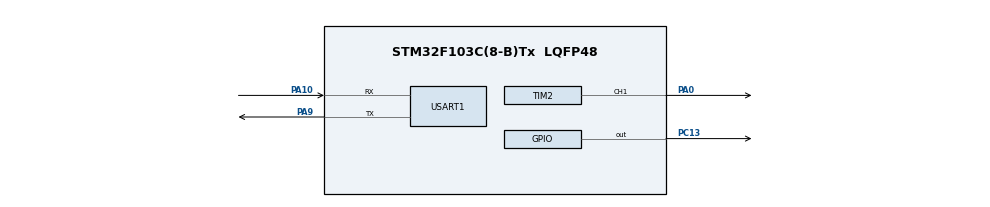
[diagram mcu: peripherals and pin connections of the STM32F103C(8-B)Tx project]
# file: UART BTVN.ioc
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Mcu.Family=STM32F1
Mcu.Name=STM32F103C(8-B)Tx
Mcu.Package=LQFP48
NVIC.PriorityGroup=NVIC_PRIORITYGROUP_4
NVIC.USART1_IRQn=true\:0\:0\:false\:false\:true\:true\:true\:true
PA0-WKUP.Signal=S_TIM2_CH1_ETR
PA10.Mode=Asynchronous
PA10.Signal=USART1_RX
PA13.Mode=Serial_Wire
PA13.Signal=SYS_JTMS-SWDIO
PA14.Mode=Serial_Wire
PA14.Signal=SYS_JTCK-SWCLK
PA9.Mode=Asynchronous
PA9.Signal=USART1_TX
PC13-TAMPER-RTC.GPIO_PuPd=GPIO_PULLUP
PC13-TAMPER-RTC.Signal=GPIO_Output
ProjectManager.HeapSize=0x200
ProjectManager.StackSize=0x400
ProjectManager.TargetToolchain=MDK-ARM V5
RCC.APB1Freq_Value=8000000
RCC.APB2Freq_Value=8000000
SH.S_TIM2_CH1_ETR.0=TIM2_CH1,PWM Generation1 CH1
TIM2.Channel-PWM\ Generation1\ CH1=TIM_CHANNEL_1
TIM2.Period=200
TIM2.Prescaler=800-1
USART1.VirtualMode=VM_ASYNC
VP_TIM2_VS_ClockSourceINT.Mode=Internal
board=custom

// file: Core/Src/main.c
/* USER CODE BEGIN Header */
/**
  ******************************************************************************
  * @file           : main.c
  * @brief          : Main program body
  ******************************************************************************
  * @attention
  *
  * Copyright (c) 2023 STMicroelectronics.
  * All rights reserved.
  *
  * This software is licensed under terms that can be found in the LICENSE file
  * in the root directory of this software component.
  * If no LICENSE file comes with this software, it is provided AS-IS.
  *
  ******************************************************************************
  */
/* USER CODE END Header */
#include "main.h"

/* USER CODE BEGIN Includes */
#include "stdio.h"
#include "string.h"
/* USER CODE END Includes */

#define LED_ON 		"LED=1"
#define LED_OFF 	"LED=0"
#define SERVO_90 	"SERVO=90"

TIM_HandleTypeDef htim2;

UART_HandleTypeDef huart1;

/* USER CODE BEGIN PV */
uint8_t Rx_Data=0;
uint8_t Rx_Array[20];
uint8_t Rx_Index=0;
uint8_t CheckMode=0;
/* USER CODE END PV */

void SystemClock_Config(void);
static void MX_GPIO_Init(void);
static void MX_TIM2_Init(void);
static void MX_USART1_UART_Init(void);
/* USER CODE BEGIN PFP */
void HAL_UART_RxCpltCallback(UART_HandleTypeDef *huart)
{
  Rx_Array[Rx_Index]=Rx_Data;
	Rx_Index++;
	if (Rx_Data==10) {
		for(int i=(Rx_Index-1);i<20;i++) {
			Rx_Array[i]=0;
		}
		Rx_Index=0;
	}
	HAL_UART_Receive_IT(&huart1,&Rx_Data,1);
}

void PWM_Output(uint8_t servo_duty)
{
	__HAL_TIM_SetCompare(&htim2,TIM_CHANNEL_1,servo_duty);
}

void LED_Output(GPIO_PinState PinState)
{
	HAL_GPIO_WritePin(GPIOC,GPIO_PIN_13,PinState);
}

void Repeat_Check(){
	if (strcmp((const char*)Rx_Array,"Repeat=ON") == 0)
	{
		CheckMode=1;
		memset((char*)Rx_Array,0,20);
	}
	else if (strcmp((const char*)Rx_Array,"Repeat=OFF") == 0)
	{
		CheckMode=0;
	}
}

void Repeat_Mode(){
	HAL_UART_Transmit(&huart1,Rx_Array,20,HAL_MAX_DELAY);
	HAL_Delay(1000);
}

void Command_Mode(){
	if (strcmp((const char*)Rx_Array,LED_ON) == 0)
	{
			LED_Output(GPIO_PIN_RESET);
	}
	if (strcmp((const char*)Rx_Array,LED_OFF) == 0)
	{
			LED_Output(GPIO_PIN_SET);
	}
	if (strcmp((const char*)Rx_Array,SERVO_90) == 0)
	{
		//PWM = 20/200(ms) corresponds to angle of servo is 90.
			PWM_Output(20);
	}
}

/* USER CODE END PFP */

int main(void)
{

  /* MCU Configuration--------------------------------------------------------*/

  /* Reset of all peripherals, Initializes the Flash interface and the Systick. */
  HAL_Init();

  /* Configure the system clock */
  SystemClock_Config();

  /* Initialize all configured peripherals */
  MX_GPIO_Init();
  MX_TIM2_Init();
  MX_USART1_UART_Init();
  /* USER CODE BEGIN 2 */
	HAL_UART_Receive_IT(&huart1,&Rx_Data,1);
	HAL_TIM_PWM_Start(&htim2,TIM_CHANNEL_1);
  /* USER CODE END 2 */

  /* Infinite loop */
  while (1)
  {

    /* USER CODE BEGIN 3 */
		Repeat_Check();

		if (CheckMode==0)
		{
			Command_Mode();
		}
		else {
			Repeat_Mode();
		}
  }
  /* USER CODE END 3 */
}

void SystemClock_Config(void)
{
  RCC_OscInitTypeDef RCC_OscInitStruct = {0};
  RCC_ClkInitTypeDef RCC_ClkInitStruct = {0};

  /** Initializes the RCC Oscillators according to the specified parameters
  * in the RCC_OscInitTypeDef structure.
  */
  RCC_OscInitStruct.OscillatorType = RCC_OSCILLATORTYPE_HSI;
  RCC_OscInitStruct.HSIState = RCC_HSI_ON;
  RCC_OscInitStruct.HSICalibrationValue = RCC_HSICALIBRATION_DEFAULT;
  RCC_OscInitStruct.PLL.PLLState = RCC_PLL_NONE;
  if (HAL_RCC_OscConfig(&RCC_OscInitStruct) != HAL_OK)
  {
    Error_Handler();
  }

  /** Initializes the CPU, AHB and APB buses clocks
  */
  RCC_ClkInitStruct.ClockType = RCC_CLOCKTYPE_HCLK|RCC_CLOCKTYPE_SYSCLK
                              |RCC_CLOCKTYPE_PCLK1|RCC_CLOCKTYPE_PCLK2;
  RCC_ClkInitStruct.SYSCLKSource = RCC_SYSCLKSOURCE_HSI;
  RCC_ClkInitStruct.AHBCLKDivider = RCC_SYSCLK_DIV1;
  RCC_ClkInitStruct.APB1CLKDivider = RCC_HCLK_DIV1;
  RCC_ClkInitStruct.APB2CLKDivider = RCC_HCLK_DIV1;

  if (HAL_RCC_ClockConfig(&RCC_ClkInitStruct, FLASH_LATENCY_0) != HAL_OK)
  {
    Error_Handler();
  }
}

static void MX_TIM2_Init(void)
{

  TIM_ClockConfigTypeDef sClockSourceConfig = {0};
  TIM_MasterConfigTypeDef sMasterConfig = {0};
  TIM_OC_InitTypeDef sConfigOC = {0};

  htim2.Instance = TIM2;
  htim2.Init.Prescaler = 800-1;
  htim2.Init.CounterMode = TIM_COUNTERMODE_UP;
  htim2.Init.Period = 200;
  htim2.Init.ClockDivision = TIM_CLOCKDIVISION_DIV1;
  htim2.Init.AutoReloadPreload = TIM_AUTORELOAD_PRELOAD_DISABLE;
  if (HAL_TIM_Base_Init(&htim2) != HAL_OK)
  {
    Error_Handler();
  }
  sClockSourceConfig.ClockSource = TIM_CLOCKSOURCE_INTERNAL;
  if (HAL_TIM_ConfigClockSource(&htim2, &sClockSourceConfig) != HAL_OK)
  {
    Error_Handler();
  }
  if (HAL_TIM_PWM_Init(&htim2) != HAL_OK)
  {
    Error_Handler();
  }
  sMasterConfig.MasterOutputTrigger = TIM_TRGO_RESET;
  sMasterConfig.MasterSlaveMode = TIM_MASTERSLAVEMODE_DISABLE;
  if (HAL_TIMEx_MasterConfigSynchronization(&htim2, &sMasterConfig) != HAL_OK)
  {
    Error_Handler();
  }
  sConfigOC.OCMode = TIM_OCMODE_PWM1;
  sConfigOC.Pulse = 0;
  sConfigOC.OCPolarity = TIM_OCPOLARITY_HIGH;
  sConfigOC.OCFastMode = TIM_OCFAST_DISABLE;
  if (HAL_TIM_PWM_ConfigChannel(&htim2, &sConfigOC, TIM_CHANNEL_1) != HAL_OK)
  {
    Error_Handler();
  }
  HAL_TIM_MspPostInit(&htim2);

}

static void MX_USART1_UART_Init(void)
{

  huart1.Instance = USART1;
  huart1.Init.BaudRate = 115200;
  huart1.Init.WordLength = UART_WORDLENGTH_8B;
  huart1.Init.StopBits = UART_STOPBITS_1;
  huart1.Init.Parity = UART_PARITY_NONE;
  huart1.Init.Mode = UART_MODE_TX_RX;
  huart1.Init.HwFlowCtl = UART_HWCONTROL_NONE;
  huart1.Init.OverSampling = UART_OVERSAMPLING_16;
  if (HAL_UART_Init(&huart1) != HAL_OK)
  {
    Error_Handler();
  }

}

static void MX_GPIO_Init(void)
{
  GPIO_InitTypeDef GPIO_InitStruct = {0};

  /* GPIO Ports Clock Enable */
  __HAL_RCC_GPIOC_CLK_ENABLE();
  __HAL_RCC_GPIOA_CLK_ENABLE();

  /*Configure GPIO pin Output Level */
  HAL_GPIO_WritePin(GPIOC, GPIO_PIN_13, GPIO_PIN_RESET);

  /*Configure GPIO pin : PC13 */
  GPIO_InitStruct.Pin = GPIO_PIN_13;
  GPIO_InitStruct.Mode = GPIO_MODE_OUTPUT_PP;
  GPIO_InitStruct.Pull = GPIO_PULLUP;
  GPIO_InitStruct.Speed = GPIO_SPEED_FREQ_LOW;
  HAL_GPIO_Init(GPIOC, &GPIO_InitStruct);

}

void Error_Handler(void)
{
  __disable_irq();
  while (1)
  {
  }
}
